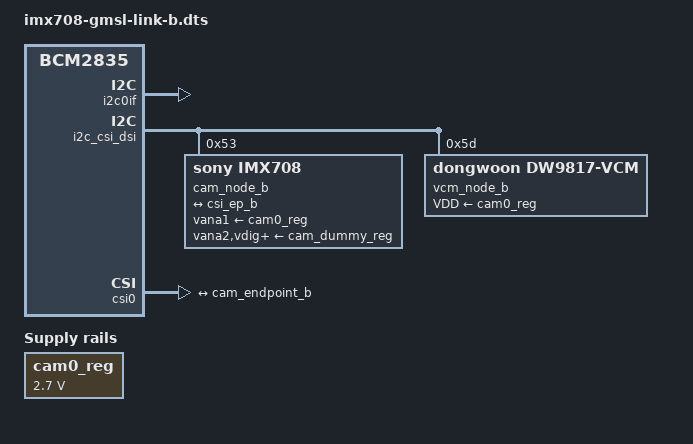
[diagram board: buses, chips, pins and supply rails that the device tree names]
// SPDX-License-Identifier: GPL-2.0-only
// Link-B IMX708 and DW9817 behind MAX96717 aliases 0x53 and 0x5d.
/dts-v1/;
/plugin/;

/ {
	compatible = "brcm,bcm2835";

	fragment@0 { target = <&i2c0if>; __overlay__ { status = "okay"; }; };
	clk_frag: fragment@1 { target = <&cam0_clk>; __overlay__ { status = "okay"; clock-frequency = <24000000>; }; };
	reg_frag: fragment@2 {
		target = <&cam0_reg>;
		cam_reg: __overlay__ {
			startup-delay-us = <70000>;
			off-on-delay-us = <30000>;
			regulator-min-microvolt = <2700000>;
			regulator-max-microvolt = <2700000>;
		};
	};

	i2c_frag: fragment@100 {
		// Same upstream I2C bus as Link A: aliases distinguish the remote devices.
		target = <&i2c_csi_dsi>;
		__overlay__ {
			#address-cells = <1>;
			#size-cells = <0>;
			status = "okay";
			cam_node_b: imx708@53 {
				compatible = "sony,imx708";
				reg = <0x53>;
				status = "okay";
				clocks = <&cam0_clk>;
				clock-names = "inclk";
				vana1-supply = <&cam0_reg>;
				vana2-supply = <&cam_dummy_reg>;
				vdig-supply = <&cam_dummy_reg>;
				vddl-supply = <&cam_dummy_reg>;
				rotation = <180>;
				orientation = <2>;
				lens-focus = <&vcm_node_b>;
				port {
					cam_endpoint_b: endpoint {
						clock-lanes = <0>;
						data-lanes = <1 2>;
						clock-noncontinuous;
						link-frequencies = /bits/ 64 <450000000>;
						remote-endpoint = <&csi_ep_b>;
					};
				};
			};
			vcm_node_b: dw9817@5d {
				compatible = "dongwoon,dw9817-vcm";
				reg = <0x5d>;
				status = "okay";
				VDD-supply = <&cam0_reg>;
			};
		};
	};

	csi_frag: fragment@101 {
		// Link B has its own RP1-CFE source; it does not share CSI1 with Link A.
		target = <&csi0>;
		csi: __overlay__ {
			status = "okay";
			port {
				csi_ep_b: endpoint {
					remote-endpoint = <&cam_endpoint_b>;
					clock-lanes = <0>;
					data-lanes = <1 2>;
					clock-noncontinuous;
				};
			};
		};
	};

	fragment@102 { target = <&csi0>; __dormant__ { compatible = "brcm,bcm2835-unicam-legacy"; }; };
};
